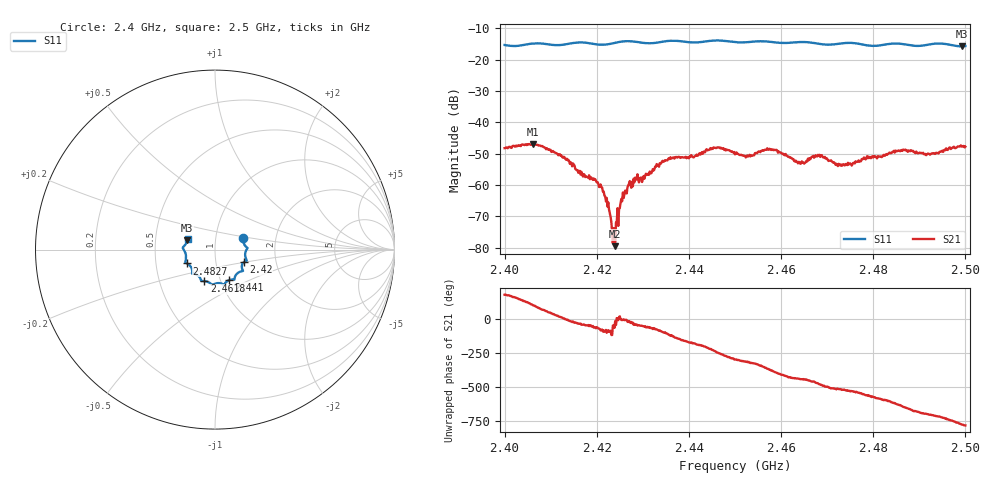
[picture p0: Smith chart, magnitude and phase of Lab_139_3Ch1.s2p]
# Hz S RI R 50
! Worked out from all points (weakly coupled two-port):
!   601 points, 2.4 GHz to 2.5 GHz, reference 50 ohm
!   highest |S21| = -46.93 dB at 2.4062 GHz (marker M1); lowest = -79.5 dB at 2.424 GHz (marker M2)
!   lowest |S11| = -15.8 dB at 2.4993 GHz (marker M3), VSWR 1.39, Z = 36.5 + j3.83 ohm
!   |S11| at or under -10 dB: start of sweep to end of sweep
!   S12 and S22 are empty: the file has one direction only
!   S11 on the Smith chart (normalised r, x): 2.4 GHz: 1.36, +0.18; 2.42 GHz: 1.36, -0.20; 2.441 GHz: 1.10, -0.39; 2.4618 GHz: 0.84, -0.30; 2.4827 GHz: 0.72, -0.11; 2.5 GHz: 0.73, +0.09
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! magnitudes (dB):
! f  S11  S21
! 2.4 GHz  -15.4  -48.3
! 2.4062 GHz  -14.9  -46.9
! 2.4167 GHz  -14.5  -55.8
! 2.42 GHz  -15.2  -59.1
! 2.422 GHz  -15.2  -65.3
! 2.4235 GHz  -14.8  -78.7
! 2.424 GHz  -14.7  -79.5
! 2.4253 GHz  -14.3  -64.5
! 2.4267 GHz  -14.1  -60.7
! 2.4333 GHz  -14.5  -53.6
! 2.441 GHz  -14.6  -51.3
! 2.4458 GHz  -13.9  -48.3
! 2.45 GHz  -14.5  -50.3
! 2.4575 GHz  -14.3  -48.5
! 2.4618 GHz  -14.7  -51.2
! 2.4647 GHz  -14.4  -52.9
! 2.4667 GHz  -14.6  -51.0
! 2.4733 GHz  -14.8  -53.6
! 2.4827 GHz  -15.2  -50.5
! 2.4833 GHz  -15.0  -50.0
! 2.4993 GHz  -15.8  -47.8
! 2.5 GHz  -15.7  -47.8
